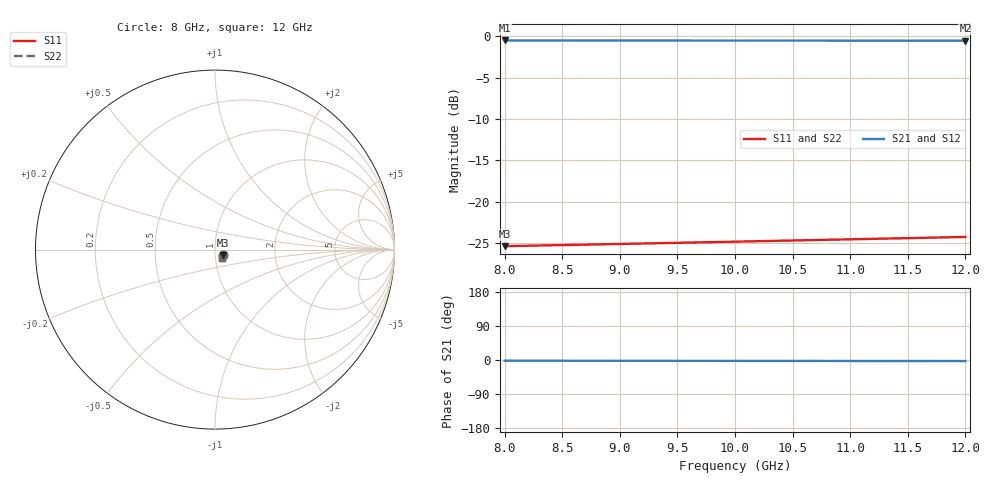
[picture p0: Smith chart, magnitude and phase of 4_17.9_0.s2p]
! Created Wed Oct 21 16:16:12 2020
# ghz S db R 50
! 2 Port Network Data from SP1.SP block
! freq  dbS11  angS11  dbS21  angS21  dbS12  angS12  dbS22  angS22
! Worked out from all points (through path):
!   9 points, 8 GHz to 12 GHz, reference 50 ohm
!   highest |S21| = -0.50 dB at 8 GHz (marker M1); lowest = -0.5 dB at 12 GHz (marker M2)
!   lowest |S11| = -25.4 dB at 8 GHz (marker M3), VSWR 1.11, Z = 54.3 - j3.57 ohm
!   |S11| at or under -10 dB: start of sweep to end of sweep
!   |S22| runs from -25.4 to -24.3 dB; largest |S21 - S12| = 5.7e-16
8  -25.40 -37.7  -0.50 -1.9  -0.50 -1.9  -25.40 -37.7
8.5  -25.27 -39.6  -0.50 -2.0  -0.50 -2.0  -25.27 -39.6
9  -25.14 -41.4  -0.50 -2.1  -0.50 -2.1  -25.14 -41.4
9.5  -25.00 -43.2  -0.51 -2.3  -0.51 -2.3  -25.00 -43.2
10  -24.86 -44.9  -0.51 -2.4  -0.51 -2.4  -24.86 -44.9
10.5  -24.72 -46.6  -0.52 -2.5  -0.52 -2.5  -24.72 -46.6
11  -24.57 -48.2  -0.52 -2.6  -0.52 -2.6  -24.57 -48.2
11.5  -24.43 -49.8  -0.53 -2.7  -0.53 -2.7  -24.43 -49.8
12  -24.29 -51.3  -0.53 -2.8  -0.53 -2.8  -24.29 -51.3
